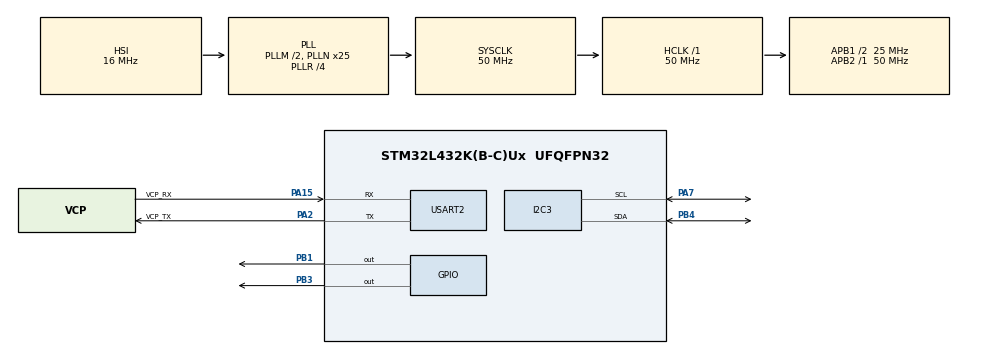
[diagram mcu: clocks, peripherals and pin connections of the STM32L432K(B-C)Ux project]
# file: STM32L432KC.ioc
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I2C3.Timing=0x00606092
Mcu.Family=STM32L4
Mcu.Name=STM32L432K(B-C)Ux
Mcu.Package=UFQFPN32
NVIC.PriorityGroup=NVIC_PRIORITYGROUP_4
NVIC.RCC_IRQn=true\:0\:0\:false\:false\:true\:true\:false
NVIC.TIM6_DAC_IRQn=true\:0\:0\:false\:true\:true\:1\:true\:true
NVIC.TIM7_IRQn=true\:0\:0\:false\:true\:true\:2\:true\:true
NVIC.USART2_IRQn=true\:0\:0\:false\:false\:true\:true\:true
PA0.GPIO_Label=MCO [High speed clock in]
PA0.Mode=HSE-External-Clock-Source-for-LittleOrca
PA0.Signal=RCC_CK_IN
PA13\ (JTMS-SWDIO).GPIO_Label=SWDIO
PA13\ (JTMS-SWDIO).Mode=Serial_Wire
PA13\ (JTMS-SWDIO).Signal=SYS_JTMS-SWDIO
PA14\ (JTCK-SWCLK).GPIO_Label=SWCLK
PA14\ (JTCK-SWCLK).Mode=Serial_Wire
PA14\ (JTCK-SWCLK).Signal=SYS_JTCK-SWCLK
PA15\ (JTDI).GPIO_Label=VCP_RX
PA15\ (JTDI).Mode=Asynchronous
PA15\ (JTDI).Signal=USART2_RX
PA2.GPIO_Label=VCP_TX
PA2.Mode=Asynchronous
PA2.Signal=USART2_TX
PA7.GPIO_Pu=GPIO_PULLUP
PA7.Mode=I2C
PA7.Signal=I2C3_SCL
PB1.Signal=GPIO_Output
PB3\ (JTDO-TRACESWO).Signal=GPIO_Output
PB4\ (NJTRST).GPIO_Pu=GPIO_PULLUP
PB4\ (NJTRST).Mode=I2C
PB4\ (NJTRST).Signal=I2C3_SDA
PC14-OSC32_IN\ (PC14).Mode=LSE-External-Oscillator
PC14-OSC32_IN\ (PC14).Signal=RCC_OSC32_IN
PC15-OSC32_OUT\ (PC15).Mode=LSE-External-Oscillator
PC15-OSC32_OUT\ (PC15).Signal=RCC_OSC32_OUT
ProjectManager.HeapSize=0x200
ProjectManager.StackSize=0x400
ProjectManager.TargetToolchain=STM32CubeIDE
RCC.ADCFreq_Value=32000000
RCC.AHBFreq_Value=50000000
RCC.APB1CLKDivider=RCC_HCLK_DIV2
RCC.APB1Freq_Value=25000000
RCC.APB1TimFreq_Value=50000000
RCC.APB2Freq_Value=50000000
RCC.APB2TimFreq_Value=50000000
RCC.CortexFreq_Value=50000000
RCC.HCLKFreq_Value=50000000
RCC.HSE_VALUE=8000000
RCC.HSI16_VALUE=16000000
RCC.HSI48_VALUE=48000000
RCC.HSI_VALUE=16000000
RCC.MSI_VALUE=4000000
RCC.PLLM=2
RCC.PLLMUL=RCC_PLLMUL_4
RCC.PLLN=25
RCC.PLLR=RCC_PLLR_DIV4
RCC.PLLSourceVirtual=RCC_PLLSOURCE_HSI
RCC.SYSCLKFreq_VALUE=50000000
RCC.SYSCLKSource=RCC_SYSCLKSOURCE_PLLCLK
RCC.USBFreq_Value=32000000
RCC.VCOOutputFreq_Value=200000000
TIM7.Period=0xffff-1
TIM7.Prescaler=50-1
USART2.VirtualMode-Asynchronous=VM_ASYNC
VP_TIM6_VS_ClockSourceINT.Mode=Enable_Timer
VP_TIM7_VS_ClockSourceINT.Mode=Enable_Timer
board=NUCLEO-L432KC

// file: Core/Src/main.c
/* USER CODE BEGIN Header */
/**
  ******************************************************************************
  * @file           : main.c
  * @brief          : Main program body
  ******************************************************************************
  * @attention
  *
  * <h2><center>&copy; Copyright (c) 2021 STMicroelectronics.
  * All rights reserved.</center></h2>
  *
  * This software component is licensed by ST under BSD 3-Clause license,
  * the "License"; You may not use this file except in compliance with the
  * License. You may obtain a copy of the License at:
  *                        opensource.org/licenses/BSD-3-Clause
  *
  ******************************************************************************
  */
/* USER CODE END Header */
#include "main.h"

/* USER CODE BEGIN Includes */
#include "lcd16x2_i2c.h"
#include "DHT.h"
/* USER CODE END Includes */

I2C_HandleTypeDef hi2c3;

TIM_HandleTypeDef htim6;
TIM_HandleTypeDef htim7;

UART_HandleTypeDef huart2;

void SystemClock_Config(void);
static void MX_GPIO_Init(void);
static void MX_USART2_UART_Init(void);
static void MX_I2C3_Init(void);
static void MX_TIM6_Init(void);
static void MX_TIM7_Init(void);
static void MX_NVIC_Init(void);

/* USER CODE BEGIN 0 */
void delay (uint16_t time){

	__HAL_TIM_SET_COUNTER(&htim7, 0);
	while((__HAL_TIM_GET_COUNTER(&htim7))<time);
}

uint8_t Rh_byte1, Rh_byte2, Temp_byte1, Temp_byte2;
uint16_t SUM, RH, TEMP;

float Temperature = 0;
float Humidity = 0;
uint8_t Presence = 0;

void Set_Pin_Output (GPIO_TypeDef *GPIOx, uint16_t GPIO_Pin)
{
	GPIO_InitTypeDef GPIO_InitStruct = {0};
	GPIO_InitStruct.Pin = GPIO_Pin;
	GPIO_InitStruct.Mode = GPIO_MODE_OUTPUT_PP;
	GPIO_InitStruct.Speed = GPIO_SPEED_FREQ_LOW;
	HAL_GPIO_Init(GPIOx, &GPIO_InitStruct);
}

void Set_Pin_Input (GPIO_TypeDef *GPIOx, uint16_t GPIO_Pin)
{
	GPIO_InitTypeDef GPIO_InitStruct = {0};
	GPIO_InitStruct.Pin = GPIO_Pin;
	GPIO_InitStruct.Mode = GPIO_MODE_INPUT;
	GPIO_InitStruct.Pull = GPIO_NOPULL;
	HAL_GPIO_Init(GPIOx, &GPIO_InitStruct);
}

#define DHT22_PORT GPIOB
#define DHT22_PIN GPIO_PIN_1

void DHT22_Start (void)
{
	Set_Pin_Output (DHT22_PORT, DHT22_PIN);  // set the pin as output
	HAL_GPIO_WritePin (DHT22_PORT, DHT22_PIN, 0);   // pull the pin low

	delay (1200);  // >1ms delay

    HAL_GPIO_WritePin (DHT22_PORT, DHT22_PIN, 1);   // pull the pin high
    delay (20);   // wait for 30us
	Set_Pin_Input(DHT22_PORT, DHT22_PIN);    // set as input
}

uint8_t DHT22_Check_Response (void)
{
	uint8_t Response = 0;
	delay (40);
	if (!(HAL_GPIO_ReadPin (DHT22_PORT, DHT22_PIN)))
	{
		delay (80);
		if ((HAL_GPIO_ReadPin (DHT22_PORT, DHT22_PIN))) Response = 1;
		else Response = -1;
	}
	while ((HAL_GPIO_ReadPin (DHT22_PORT, DHT22_PIN)));   // wait for the pin to go low

	return Response;
}

uint8_t DHT22_Read (void)
{
	uint8_t i,j;
	for (j=0;j<8;j++)
	{
		while (!(HAL_GPIO_ReadPin (DHT22_PORT, DHT22_PIN)));   // wait for the pin to go high
		delay (40);   // wait for 40 us
		if (!(HAL_GPIO_ReadPin (DHT22_PORT, DHT22_PIN)))   // if the pin is low
		{
			i&= ~(1<<(7-j));   // write 0
		}
		else i|= (1<<(7-j));  // if the pin is high, write 1
		while ((HAL_GPIO_ReadPin (DHT22_PORT, DHT22_PIN)));  // wait for the pin to go low
	}
	return i;
}

/* USER CODE END 0 */

int main(void)
{

  /* MCU Configuration--------------------------------------------------------*/

  /* Reset of all peripherals, Initializes the Flash interface and the Systick. */
  HAL_Init();

  /* Configure the system clock */
  SystemClock_Config();

  /* Initialize all configured peripherals */
  MX_GPIO_Init();
  MX_USART2_UART_Init();
  MX_I2C3_Init();
  MX_TIM6_Init();
  MX_TIM7_Init();

  /* Initialize interrupts */
  MX_NVIC_Init();
  /* USER CODE BEGIN 2 */
  HAL_TIM_Base_Start(&htim7);
  if(lcd16x2_i2c_init(&hi2c3)){
  	 HAL_GPIO_WritePin(GPIOB, GPIO_PIN_3, 1);
   }
  lcd16x2_i2c_clear();

  int a = 1;
  /* USER CODE END 2 */

  /* Infinite loop */
  /* USER CODE BEGIN WHILE */
  while (1)
  {

	  DHT22_Start();
	  Presence = DHT22_Check_Response();
	  Rh_byte1 = DHT22_Read();
	  Rh_byte2 = DHT22_Read();
	  Temp_byte1 = DHT22_Read();
	  Temp_byte2 = DHT22_Read();
	  SUM = DHT22_Read();

	  TEMP = ((Temp_byte1<<8)|Temp_byte2);
	  RH =((Rh_byte1<<8)|Rh_byte2);

	  Temperature = (float) (TEMP/10.0);
	  Humidity = (float) (RH/10.0);

//	  lcd16x2_i2c_setCursor(0,0);
//	  lcd16x2_i2c_printf("T: %.2f",1.23);
//	  lcd16x2_i2c_setCursor(0,9);
//	  lcd16x2_i2c_printf("D: %.2f",1.24);
//	  lcd16x2_i2c_setCursor(1,0);
//	  lcd16x2_i2c_printf("H: %.2f",11.26);
//	  lcd16x2_i2c_setCursor(1,9);
//	  lcd16x2_i2c_printf("C: %d",a);
//	  a++;

	  HAL_Delay(3000);
    /* USER CODE END WHILE */

  }
}

void SystemClock_Config(void)
{
  RCC_OscInitTypeDef RCC_OscInitStruct = {0};
  RCC_ClkInitTypeDef RCC_ClkInitStruct = {0};

  /** Configure the main internal regulator output voltage
  */
  if (HAL_PWREx_ControlVoltageScaling(PWR_REGULATOR_VOLTAGE_SCALE1) != HAL_OK)
  {
    Error_Handler();
  }
  /** Initializes the RCC Oscillators according to the specified parameters
  * in the RCC_OscInitTypeDef structure.
  */
  RCC_OscInitStruct.OscillatorType = RCC_OSCILLATORTYPE_HSI;
  RCC_OscInitStruct.HSIState = RCC_HSI_ON;
  RCC_OscInitStruct.HSICalibrationValue = RCC_HSICALIBRATION_DEFAULT;
  RCC_OscInitStruct.PLL.PLLState = RCC_PLL_ON;
  RCC_OscInitStruct.PLL.PLLSource = RCC_PLLSOURCE_HSI;
  RCC_OscInitStruct.PLL.PLLM = 2;
  RCC_OscInitStruct.PLL.PLLN = 25;
  RCC_OscInitStruct.PLL.PLLP = RCC_PLLP_DIV7;
  RCC_OscInitStruct.PLL.PLLQ = RCC_PLLQ_DIV2;
  RCC_OscInitStruct.PLL.PLLR = RCC_PLLR_DIV4;
  if (HAL_RCC_OscConfig(&RCC_OscInitStruct) != HAL_OK)
  {
    Error_Handler();
  }
  /** Initializes the CPU, AHB and APB buses clocks
  */
  RCC_ClkInitStruct.ClockType = RCC_CLOCKTYPE_HCLK|RCC_CLOCKTYPE_SYSCLK
                              |RCC_CLOCKTYPE_PCLK1|RCC_CLOCKTYPE_PCLK2;
  RCC_ClkInitStruct.SYSCLKSource = RCC_SYSCLKSOURCE_PLLCLK;
  RCC_ClkInitStruct.AHBCLKDivider = RCC_SYSCLK_DIV1;
  RCC_ClkInitStruct.APB1CLKDivider = RCC_HCLK_DIV2;
  RCC_ClkInitStruct.APB2CLKDivider = RCC_HCLK_DIV1;

  if (HAL_RCC_ClockConfig(&RCC_ClkInitStruct, FLASH_LATENCY_3) != HAL_OK)
  {
    Error_Handler();
  }
}

/**
  * @brief NVIC Configuration.
  * @retval None
  */
static void MX_NVIC_Init(void)
{
  /* TIM6_DAC_IRQn interrupt configuration */
  HAL_NVIC_SetPriority(TIM6_DAC_IRQn, 0, 0);
  HAL_NVIC_EnableIRQ(TIM6_DAC_IRQn);
  /* TIM7_IRQn interrupt configuration */
  HAL_NVIC_SetPriority(TIM7_IRQn, 0, 0);
  HAL_NVIC_EnableIRQ(TIM7_IRQn);
}

static void MX_I2C3_Init(void)
{

  hi2c3.Instance = I2C3;
  hi2c3.Init.Timing = 0x00606092;
  hi2c3.Init.OwnAddress1 = 0;
  hi2c3.Init.AddressingMode = I2C_ADDRESSINGMODE_7BIT;
  hi2c3.Init.DualAddressMode = I2C_DUALADDRESS_DISABLE;
  hi2c3.Init.OwnAddress2 = 0;
  hi2c3.Init.OwnAddress2Masks = I2C_OA2_NOMASK;
  hi2c3.Init.GeneralCallMode = I2C_GENERALCALL_DISABLE;
  hi2c3.Init.NoStretchMode = I2C_NOSTRETCH_DISABLE;
  if (HAL_I2C_Init(&hi2c3) != HAL_OK)
  {
    Error_Handler();
  }
  /** Configure Analogue filter
  */
  if (HAL_I2CEx_ConfigAnalogFilter(&hi2c3, I2C_ANALOGFILTER_ENABLE) != HAL_OK)
  {
    Error_Handler();
  }
  /** Configure Digital filter
  */
  if (HAL_I2CEx_ConfigDigitalFilter(&hi2c3, 0) != HAL_OK)
  {
    Error_Handler();
  }

}

static void MX_TIM6_Init(void)
{

  TIM_MasterConfigTypeDef sMasterConfig = {0};

  htim6.Instance = TIM6;
  htim6.Init.Prescaler = 0;
  htim6.Init.CounterMode = TIM_COUNTERMODE_UP;
  htim6.Init.Period = 65535;
  htim6.Init.AutoReloadPreload = TIM_AUTORELOAD_PRELOAD_DISABLE;
  if (HAL_TIM_Base_Init(&htim6) != HAL_OK)
  {
    Error_Handler();
  }
  sMasterConfig.MasterOutputTrigger = TIM_TRGO_RESET;
  sMasterConfig.MasterSlaveMode = TIM_MASTERSLAVEMODE_DISABLE;
  if (HAL_TIMEx_MasterConfigSynchronization(&htim6, &sMasterConfig) != HAL_OK)
  {
    Error_Handler();
  }

}

static void MX_TIM7_Init(void)
{

  TIM_MasterConfigTypeDef sMasterConfig = {0};

  htim7.Instance = TIM7;
  htim7.Init.Prescaler = 50-1;
  htim7.Init.CounterMode = TIM_COUNTERMODE_UP;
  htim7.Init.Period = 0xffff-1;
  htim7.Init.AutoReloadPreload = TIM_AUTORELOAD_PRELOAD_DISABLE;
  if (HAL_TIM_Base_Init(&htim7) != HAL_OK)
  {
    Error_Handler();
  }
  sMasterConfig.MasterOutputTrigger = TIM_TRGO_RESET;
  sMasterConfig.MasterSlaveMode = TIM_MASTERSLAVEMODE_DISABLE;
  if (HAL_TIMEx_MasterConfigSynchronization(&htim7, &sMasterConfig) != HAL_OK)
  {
    Error_Handler();
  }

}

static void MX_USART2_UART_Init(void)
{

  huart2.Instance = USART2;
  huart2.Init.BaudRate = 115200;
  huart2.Init.WordLength = UART_WORDLENGTH_8B;
  huart2.Init.StopBits = UART_STOPBITS_1;
  huart2.Init.Parity = UART_PARITY_NONE;
  huart2.Init.Mode = UART_MODE_TX_RX;
  huart2.Init.HwFlowCtl = UART_HWCONTROL_NONE;
  huart2.Init.OverSampling = UART_OVERSAMPLING_16;
  huart2.Init.OneBitSampling = UART_ONE_BIT_SAMPLE_DISABLE;
  huart2.AdvancedInit.AdvFeatureInit = UART_ADVFEATURE_NO_INIT;
  if (HAL_UART_Init(&huart2) != HAL_OK)
  {
    Error_Handler();
  }

}

static void MX_GPIO_Init(void)
{
  GPIO_InitTypeDef GPIO_InitStruct = {0};

  /* GPIO Ports Clock Enable */
  __HAL_RCC_GPIOC_CLK_ENABLE();
  __HAL_RCC_GPIOA_CLK_ENABLE();
  __HAL_RCC_GPIOB_CLK_ENABLE();

  /*Configure GPIO pin Output Level */
  HAL_GPIO_WritePin(GPIOB, GPIO_PIN_1|GPIO_PIN_3, GPIO_PIN_RESET);

  /*Configure GPIO pins : PB1 PB3 */
  GPIO_InitStruct.Pin = GPIO_PIN_1|GPIO_PIN_3;
  GPIO_InitStruct.Mode = GPIO_MODE_OUTPUT_PP;
  GPIO_InitStruct.Pull = GPIO_NOPULL;
  GPIO_InitStruct.Speed = GPIO_SPEED_FREQ_LOW;
  HAL_GPIO_Init(GPIOB, &GPIO_InitStruct);

}

void Error_Handler(void)
{
  __disable_irq();
  while (1)
  {
  }
}

/************************ (C) COPYRIGHT STMicroelectronics *****END OF FILE****/
